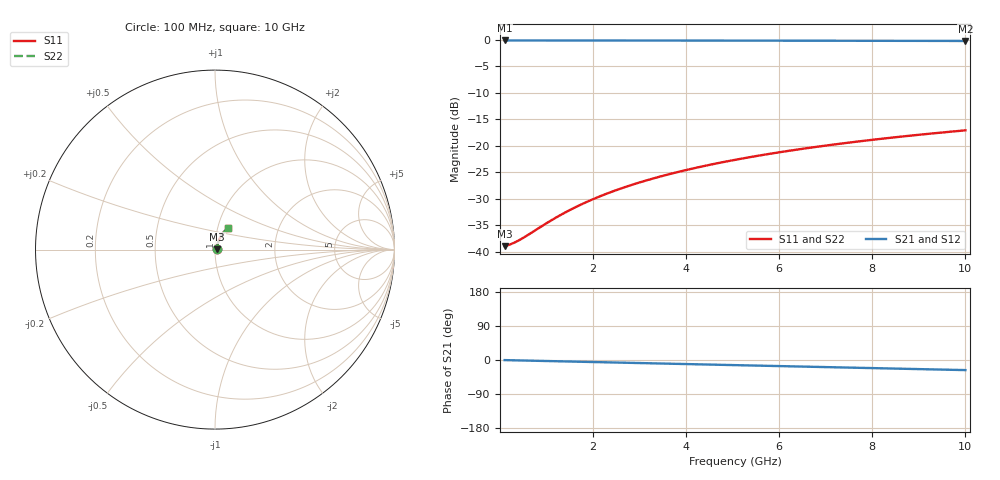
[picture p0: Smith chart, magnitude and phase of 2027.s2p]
# Hz S RI R 50.00
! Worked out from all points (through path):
!   100 points, 100 MHz to 10 GHz, reference 50 ohm
!   highest |S21| = -0.10 dB at 100 MHz (marker M1); lowest = -0.2 dB at 10 GHz (marker M2)
!   group delay of S21, straight-line fit = 7.41 ps
!   lowest |S11| = -38.9 dB at 100 MHz (marker M3), VSWR 1.02, Z = 51.1 + j0.144 ohm
!   |S11| at or under -10 dB: start of sweep to end of sweep
!   |S22| runs from -38.9 to -17.1 dB; largest |S21 - S12| = 0
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1e8  0.0112 0.00141  0.9888 -0.00463  0.9888 -0.00463  0.0112 0.00141
2e8  0.0113 0.00281  0.9887 -0.00926  0.9887 -0.00926  0.0113 0.00281
3e8  0.0114 0.00422  0.9886 -0.0139  0.9886 -0.0139  0.0114 0.00422
4e8  0.0115 0.00562  0.9884 -0.0185  0.9884 -0.0185  0.0115 0.00562
6e8  0.0117 0.00842  0.9881 -0.0278  0.9881 -0.0278  0.0117 0.00842
1e9  0.0122 0.014  0.9873 -0.0462  0.9873 -0.0462  0.0122 0.014
1.2e9  0.0125 0.0168  0.9867 -0.0555  0.9867 -0.0555  0.0125 0.0168
1.5e9  0.0131 0.021  0.9857 -0.0693  0.9857 -0.0693  0.0131 0.021
1.8e9  0.0138 0.0251  0.9844 -0.0831  0.9844 -0.0831  0.0138 0.0251
2.1e9  0.0146 0.0293  0.983 -0.0969  0.983 -0.0969  0.0146 0.0293
2.5e9  0.0159 0.0347  0.9808 -0.1152  0.9808 -0.1152  0.0159 0.0347
2.9e9  0.0173 0.0401  0.9782 -0.1335  0.9782 -0.1335  0.0173 0.0401
3.4e9  0.0194 0.0468  0.9744 -0.1563  0.9744 -0.1563  0.0194 0.0468
3.8e9  0.0213 0.0521  0.971 -0.1744  0.971 -0.1744  0.0213 0.0521
4.2e9  0.0234 0.0573  0.9672 -0.1924  0.9672 -0.1924  0.0234 0.0573
4.6e9  0.0257 0.0624  0.9631 -0.2103  0.9631 -0.2103  0.0257 0.0624
5.1e9  0.0289 0.0686  0.9574 -0.2326  0.9574 -0.2326  0.0289 0.0686
5.9e9  0.0344 0.0783  0.9472 -0.2678  0.9472 -0.2678  0.0344 0.0783
6.7e9  0.0407 0.0875  0.9356 -0.3025  0.9356 -0.3025  0.0407 0.0875
7.5e9  0.0477 0.0961  0.9226 -0.3366  0.9226 -0.3366  0.0477 0.0961
8.4e9  0.0562 0.1052  0.9065 -0.3742  0.9065 -0.3742  0.0562 0.1052
1e10  0.0731 0.1195  0.874 -0.4388  0.874 -0.4388  0.0731 0.1195
